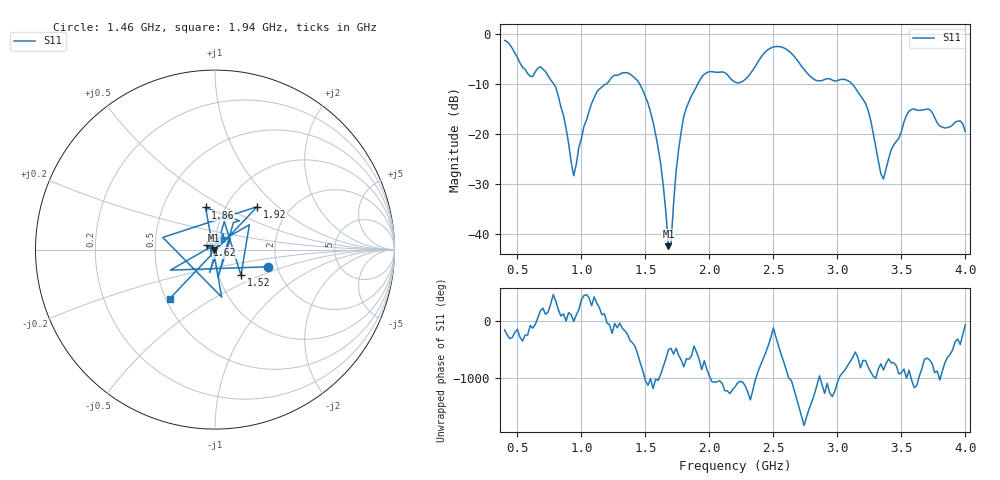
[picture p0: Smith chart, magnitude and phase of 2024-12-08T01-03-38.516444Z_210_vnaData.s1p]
!Created with skrf (http://scikit-rf.org).
# Hz S RI R 50.0
!freq ReS11 ImS11
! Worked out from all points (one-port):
!   181 points, 400 MHz to 4 GHz, reference 50 ohm
!   lowest |S11| = -42.4 dB at 1.68 GHz (marker M1), VSWR 1.02, Z = 49.4 - j0.431 ohm
!   |S11| at or under -10 dB: 783.7 MHz to 1.197 GHz (413.3 MHz wide, 41.7 % of centre); 1.455 GHz to 1.91 GHz (455.1 MHz wide, 27.1 % of centre); 3.115 GHz to end of sweep
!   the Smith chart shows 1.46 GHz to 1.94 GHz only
!   S11 on the Smith chart (normalised r, x): 1.46 GHz: 1.78, -0.38; 1.52 GHz: 1.27, -0.38; 1.62 GHz: 0.92, +0.05; 1.86 GHz: 0.81, +0.40; 1.92 GHz: 1.38, +0.74; 1.94 GHz: 0.53, -0.33
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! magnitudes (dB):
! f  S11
! 400 MHz  -1.3
! 600 MHz  -8.5
! 720 MHz  -7.6
! 860 MHz  -16.3
! 940 MHz  -28.4
! 1.02 GHz  -18.5
! 1.12 GHz  -11.6
! 1.3 GHz  -8.1
! 1.46 GHz  -10.2
! 1.52 GHz  -13.8
! 1.62 GHz  -26.1
! 1.68 GHz  -42.4
! 1.7 GHz  -41.9
! 1.74 GHz  -27.4
! 1.76 GHz  -23.0
! 1.8 GHz  -16.5
! 1.86 GHz  -12.4
! 1.92 GHz  -9.5
! 1.94 GHz  -8.6
! 2.2 GHz  -9.6
! 2.48 GHz  -2.8
! 2.66 GHz  -4.4
! 2.82 GHz  -9.1
! 3.1 GHz  -9.6
! 3.24 GHz  -15.3
! 3.36 GHz  -29.0
! 3.56 GHz  -15.4
! 4 GHz  -19.5
